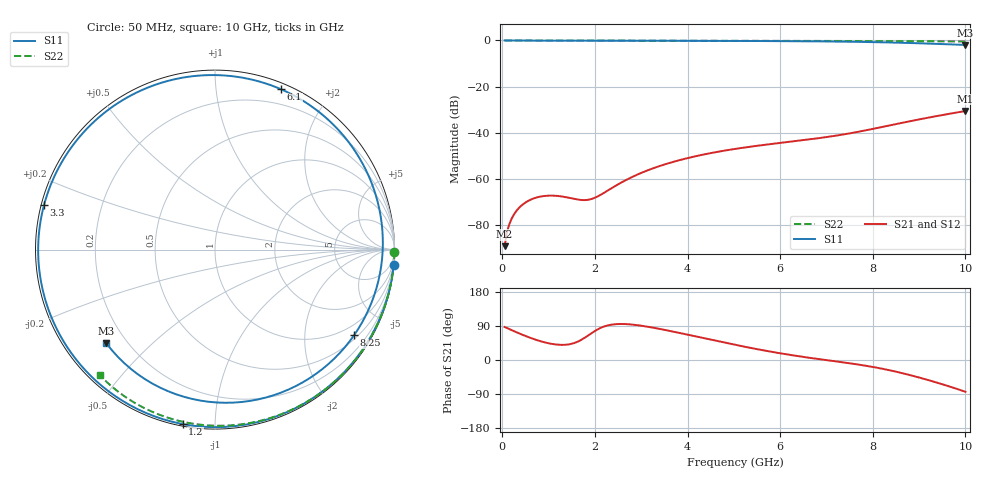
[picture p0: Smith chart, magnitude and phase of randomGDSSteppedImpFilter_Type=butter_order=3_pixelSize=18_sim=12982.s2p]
! freq	dB(S11)	phase(S11)	dB(S12)	phase(S12)
!  dB(S21)	phase(S21)	dB(S22)	phase(S22)
!S-par simulation data
#  GHz  S  DB  R 50
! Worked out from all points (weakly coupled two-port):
!   200 points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, 50 MHz to 10 GHz, reference 50 ohm
!   highest |S21| = -30.64 dB at 10 GHz (marker M1); lowest = -89.3 dB at 50 MHz (marker M2)
!   lowest |S11| = -1.9 dB at 10 GHz (marker M3), VSWR 8.97, Z = 6.34 - j18.3 ohm
!   |S11| at or under -10 dB: nowhere
!   |S22| runs from -0.4 to 0.0 dB; largest |S21 - S12| = 0
!   S11 on the Smith chart (normalised r, x): 50 MHz: 0, -23; 1.2 GHz: 0.01, -0.83; 3.3 GHz: 0.01, +0.13; 6.1 GHz: 0.06, +1.49; 8.25 GHz: 0.62, -3.43; 10 GHz: 0.13, -0.37
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0.05  -0.00 -4.9  -89.34 87.2  -89.34 87.2  -0.00 -0.8
0.15  -0.02 -14.6  -79.89 81.7  -79.89 81.7  -0.00 -2.3
0.35  -0.05 -33.5  -72.95 71.0  -72.95 71.0  -0.01 -5.3
0.65  -0.08 -59.9  -68.82 56.5  -68.82 56.5  -0.01 -9.9
0.9  -0.09 -79.6  -67.56 47.0  -67.56 47.0  -0.02 -13.7
1.2  -0.10 -100.5  -67.54 40.4  -67.54 40.4  -0.02 -18.2
1.75  -0.11 -132.0  -69.33 56.3  -69.33 56.3  -0.03 -26.4
2  -0.12 -144.1  -68.30 76.6  -68.30 76.6  -0.04 -30.1
2.45  -0.12 -163.4  -63.08 94.6  -63.08 94.6  -0.05 -36.7
3.3  -0.14 165.3  -55.21 84.3  -55.21 84.3  -0.06 -48.8
3.4  -0.14 161.8  -54.52 82.0  -54.52 82.0  -0.07 -50.2
4.25  -0.17 133.3  -49.95 60.2  -49.95 60.2  -0.09 -62.0
5.05  -0.21 106.2  -47.03 39.5  -47.03 39.5  -0.11 -72.7
6.1  -0.30 67.5  -44.27 15.7  -44.27 15.7  -0.15 -86.3
6.7  -0.38 42.9  -42.79 4.6  -42.79 4.6  -0.18 -93.7
7.5  -0.55 6.5  -40.35 -8.6  -40.35 -8.6  -0.23 -103.4
8.25  -0.82 -31.6  -37.38 -24.2  -37.38 -24.2  -0.28 -112.3
8.35  -0.87 -37.0  -36.96 -26.7  -36.96 -26.7  -0.29 -113.5
8.8  -1.10 -62.3  -35.09 -39.7  -35.09 -39.7  -0.33 -118.7
9.2  -1.36 -86.2  -33.51 -53.0  -33.51 -53.0  -0.37 -123.3
9.6  -1.64 -111.7  -32.04 -67.7  -32.04 -67.7  -0.41 -127.9
10  -1.95 -139.2  -30.64 -83.8  -30.64 -83.8  -0.45 -132.4
